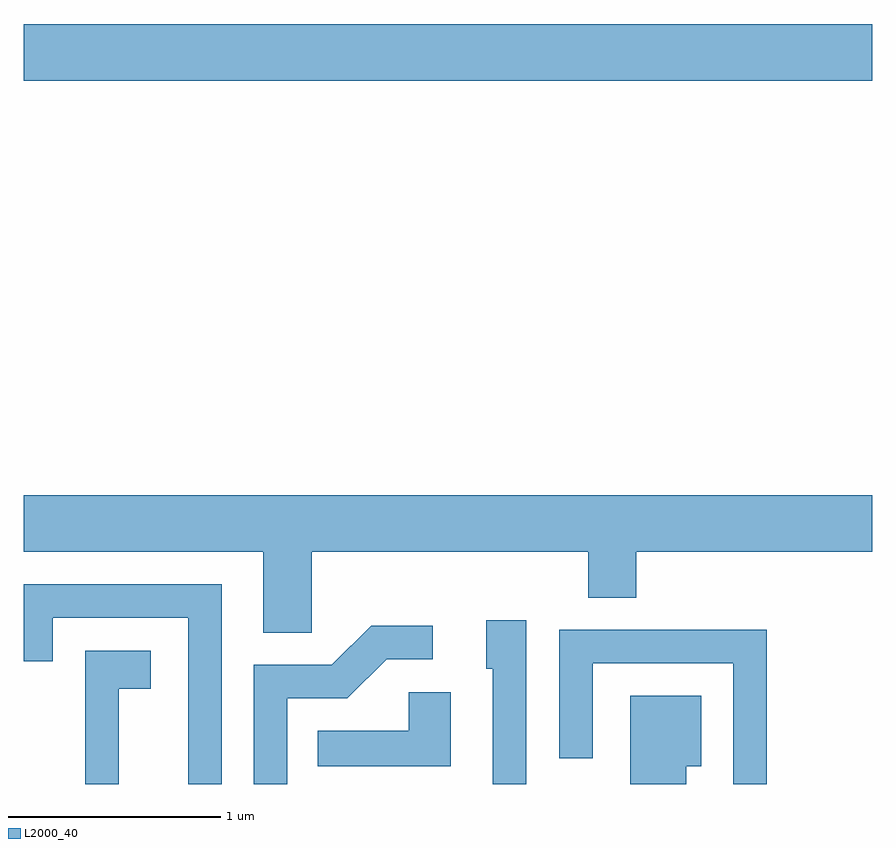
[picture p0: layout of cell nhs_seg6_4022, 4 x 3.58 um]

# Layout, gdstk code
import gdstk
lib = gdstk.Library(unit=1e-6, precision=1e-09)
def R(c, l, rs):  # rectangles x0, y0, x1, y1
    for r in rs: c.add(gdstk.rectangle(r[:2], r[2:], *l))
def P(c, l, *ps):  # polygons
    for p in ps: c.add(gdstk.Polygon(p, *l))
L2000_40 = (2000, 40)

nhs_seg6_4022 = lib.new_cell('nhs_seg6_4022')
R(nhs_seg6_4022, L2000_40, [(305.611,1665.476,309.611,1665.744)])
P(nhs_seg6_4022, L2000_40, [(306.969,1663.256),(308.271,1663.256),(308.271,1663.041),(308.499,1663.041),(308.499,1663.256),(309.611,1663.256),(309.611,1663.524),(305.611,1663.524),(305.611,1663.256),(306.741,1663.256),(306.741,1662.876),(306.969,1662.876)],
  [(306.544,1663.104),(305.611,1663.104),(305.611,1662.741),(305.749,1662.741),(305.749,1662.946),(306.386,1662.946),(306.386,1662.162),(306.544,1662.162)],
  [(307.979,1662.934),(307.791,1662.934),(307.791,1662.706),(307.821,1662.706),(307.821,1662.162),(307.979,1662.162)],
  [(306.854,1662.566),(307.137,1662.566),(307.322,1662.751),(307.538,1662.751),(307.538,1662.909),(307.249,1662.909),(307.064,1662.724),(306.696,1662.724),(306.696,1662.162),(306.854,1662.162)],
  [(309.114,1662.889),(308.136,1662.889),(308.136,1662.283),(308.294,1662.283),(308.294,1662.731),(308.956,1662.731),(308.956,1662.162),(309.114,1662.162)],
  [(306.059,1662.611),(306.209,1662.611),(306.209,1662.789),(305.901,1662.789),(305.901,1662.162),(306.059,1662.162)],
  [(307.624,1662.594),(307.426,1662.594),(307.426,1662.414),(306.998,1662.414),(306.998,1662.246),(307.624,1662.246)],
  [(308.734,1662.246),(308.804,1662.246),(308.804,1662.579),(308.471,1662.579),(308.471,1662.162),(308.734,1662.162)])

lib.write_gds('nhs_seg6_4022.gds')
